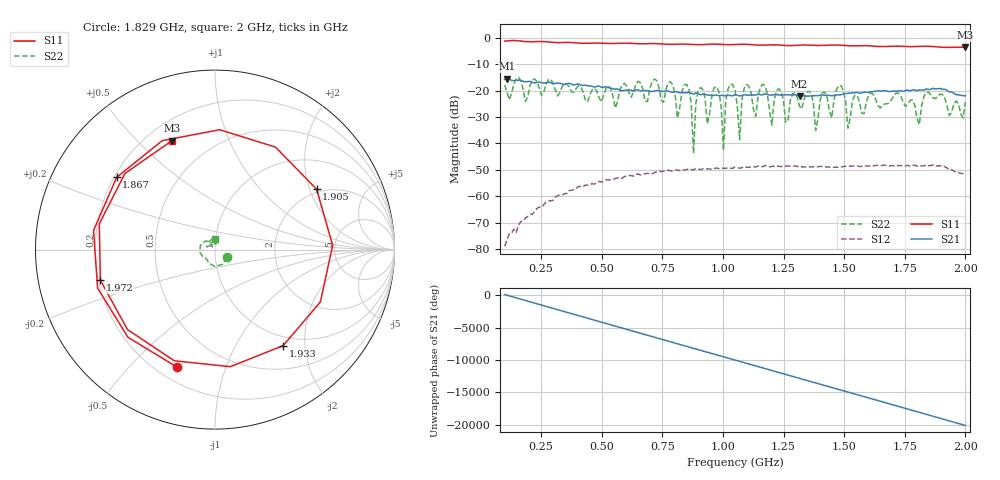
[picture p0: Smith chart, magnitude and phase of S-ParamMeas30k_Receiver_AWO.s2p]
!Keysight Technologies,N5242B,MY48420967,A.15.65.19
!Date: Saturday, February 04, 2023 03:38:38
!Correction: S11(C  1-Port  )
!S21(Off)
!S12(Off)
!S22(Off)
!S2P File: Measurements: S11, S21, S12, S22:
# Hz S  dB  R 50
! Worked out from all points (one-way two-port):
!   201 points, 100 MHz to 2 GHz, reference 50 ohm
!   highest |S21| = -15.48 dB at 109.5 MHz (marker M1); lowest = -22.2 dB at 1.316 GHz (marker M2)
!   lowest |S11| = -3.7 dB at 2 GHz (marker M3), VSWR 4.75, Z = 15.1 + j31.8 ohm
!   |S11| at or under -10 dB: nowhere
!   |S22| runs from -43.7 to -15.0 dB; largest |S21 - S12| = 0.17
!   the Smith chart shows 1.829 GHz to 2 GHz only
!   S11 on the Smith chart (normalised r, x): 1.829 GHz: 0.28, -0.69; 1.867 GHz: 0.21, +0.31; 1.905 GHz: 1.88, +2.23; 1.933 GHz: 0.85, -1.59; 1.972 GHz: 0.21, -0.13; 2 GHz: 0.30, +0.64
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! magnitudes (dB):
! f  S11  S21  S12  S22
! 100 MHz  -1.3  -15.8  -78.9  -17.9
! 109.5 MHz  -1.2  -15.5  -76.7  -20.4
! 423 MHz  -2.1  -18.1  -56.4  -20.4
! 736.5 MHz  -2.3  -20.0  -50.5  -18.8
! 850.5 MHz  -2.4  -20.8  -49.9  -17.6
! 879 MHz  -2.6  -21.3  -50.0  -43.7
! 907.5 MHz  -2.6  -21.6  -49.9  -18.9
! 983.5 MHz  -2.5  -22.0  -49.5  -20.5
! 1.002 GHz  -2.6  -21.9  -49.4  -42.5
! 1.022 GHz  -2.7  -21.7  -49.2  -19.3
! 1.05 GHz  -2.6  -21.6  -48.9  -19.9
! 1.069 GHz  -2.5  -22.1  -49.4  -38.5
! 1.097 GHz  -2.5  -21.7  -49.0  -17.7
! 1.316 GHz  -2.8  -22.2  -49.0  -25.9
! 1.373 GHz  -2.9  -22.0  -48.8  -24.6
! 1.687 GHz  -3.2  -20.4  -48.6  -24.7
! 1.829 GHz  -3.2  -19.9  -48.5  -22.2
! 1.867 GHz  -3.4  -19.2  -48.1  -22.9
! 1.905 GHz  -3.6  -19.5  -48.8  -21.5
! 1.933 GHz  -3.7  -20.5  -50.0  -29.5
! 1.972 GHz  -3.6  -21.6  -51.1  -25.0
! 2 GHz  -3.7  -22.0  -51.5  -24.4
